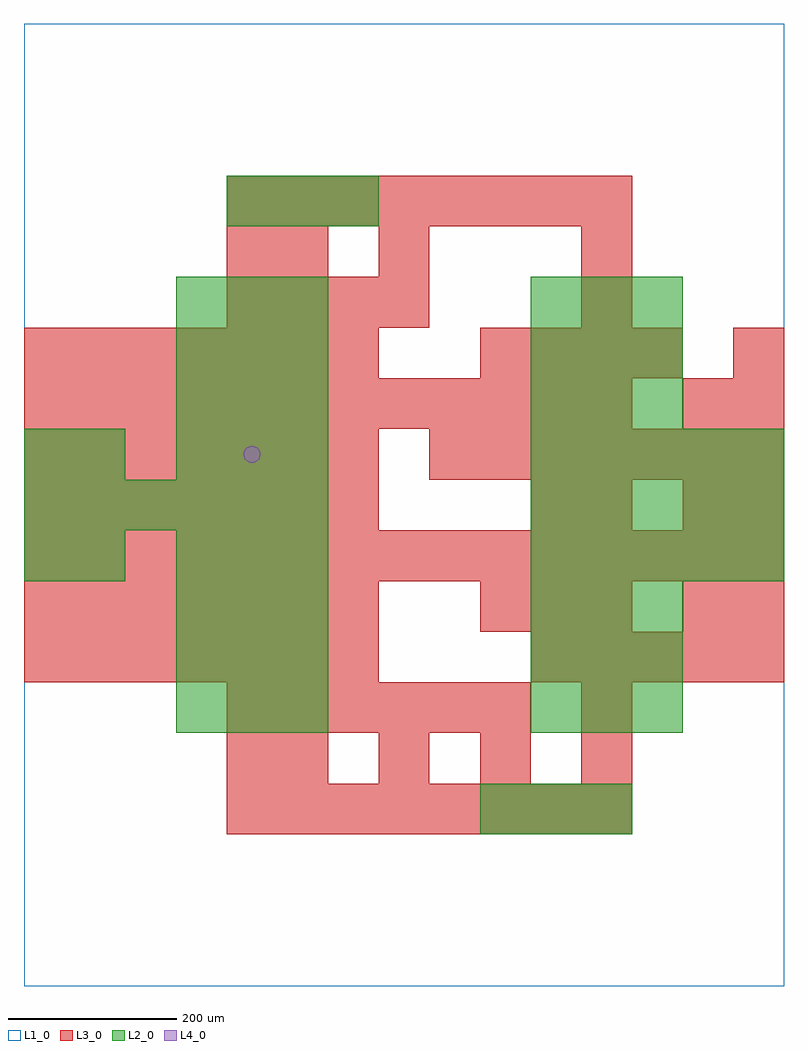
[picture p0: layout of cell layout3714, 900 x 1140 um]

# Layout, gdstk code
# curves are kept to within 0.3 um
import gdstk
lib = gdstk.Library(unit=1e-6, precision=1e-09)
def R(c, l, rs):  # rectangles x0, y0, x1, y1
    for r in rs: c.add(gdstk.rectangle(r[:2], r[2:], *l))
def A(c, l, x, y, w, h, nx, ny, dx, dy):  # array of equal rectangles
    R(c, l, [(x+i*dx, y+j*dy, x+i*dx+w, y+j*dy+h) for i in range(nx) for j in range(ny)])
def P(c, l, *ps):  # polygons
    for p in ps: c.add(gdstk.Polygon(p, *l))
L1_0 = (1, 0)
L2_0 = (2, 0)
L3_0 = (3, 0)
L4_0 = (4, 0)

layout3714 = lib.new_cell('layout3714')
R(layout3714, L1_0, [(0,0,900,1140)])
A(layout3714, L2_0, 540, 180, 60, 60, 3, 1, 60, 0)
A(layout3714, L2_0, 180, 300, 60, 60, 3, 4, 60, 60)
A(layout3714, L2_0, 600, 300, 60, 60, 3, 3, 60, 60)
A(layout3714, L2_0, 600, 480, 60, 60, 5, 3, 60, 60)
A(layout3714, L2_0, 0, 540, 60, 60, 6, 1, 60, 0)
A(layout3714, L2_0, 180, 600, 60, 60, 3, 4, 60, 60)
A(layout3714, L2_0, 600, 660, 60, 60, 3, 3, 60, 60)
A(layout3714, L2_0, 240, 900, 60, 60, 3, 1, 60, 0)
R(layout3714, L2_0, [(0,480,60,540), (60,480,120,540), (0,600,60,660), (60,600,120,660)])
A(layout3714, L3_0, 240, 180, 60, 60, 8, 2, 60, 720)
A(layout3714, L3_0, 300, 240, 60, 60, 4, 1, 120, 0)
A(layout3714, L3_0, 240, 300, 60, 60, 6, 1, 60, 0)
A(layout3714, L3_0, 660, 300, 60, 60, 1, 3, 0, 240)
A(layout3714, L3_0, 0, 360, 60, 60, 7, 2, 60, 60)
A(layout3714, L3_0, 600, 360, 60, 60, 5, 1, 60, 0)
A(layout3714, L3_0, 540, 420, 60, 60, 3, 1, 60, 0)
A(layout3714, L3_0, 780, 420, 60, 60, 1, 3, 0, 120)
A(layout3714, L3_0, 840, 420, 60, 60, 1, 3, 0, 120)
A(layout3714, L3_0, 0, 480, 60, 60, 15, 1, 60, 0)
A(layout3714, L3_0, 0, 540, 60, 60, 7, 2, 60, 60)
A(layout3714, L3_0, 480, 600, 60, 60, 7, 1, 60, 0)
A(layout3714, L3_0, 0, 660, 60, 60, 12, 1, 60, 0)
A(layout3714, L3_0, 0, 720, 60, 60, 7, 1, 60, 0)
A(layout3714, L3_0, 540, 720, 60, 60, 4, 1, 60, 0)
A(layout3714, L3_0, 240, 780, 60, 60, 4, 1, 60, 0)
R(layout3714, L3_0, [(240,240,300,300), (600,540,660,600), (840,720,900,780), (240,840,300,900), (300,840,360,900), (420,840,480,900), (660,840,720,900)])
P(layout3714, L4_0, [(280,630),(279.239,633.827),(277.071,637.071),(273.827,639.239),(270,640),(266.173,639.239),(262.929,637.071),(260.761,633.827),(260,630),(260.761,626.173),(262.929,622.929),(266.173,620.761),(270,620),(273.827,620.761),(277.071,622.929),(279.239,626.173)])

lib.write_gds('layout3714.gds')
